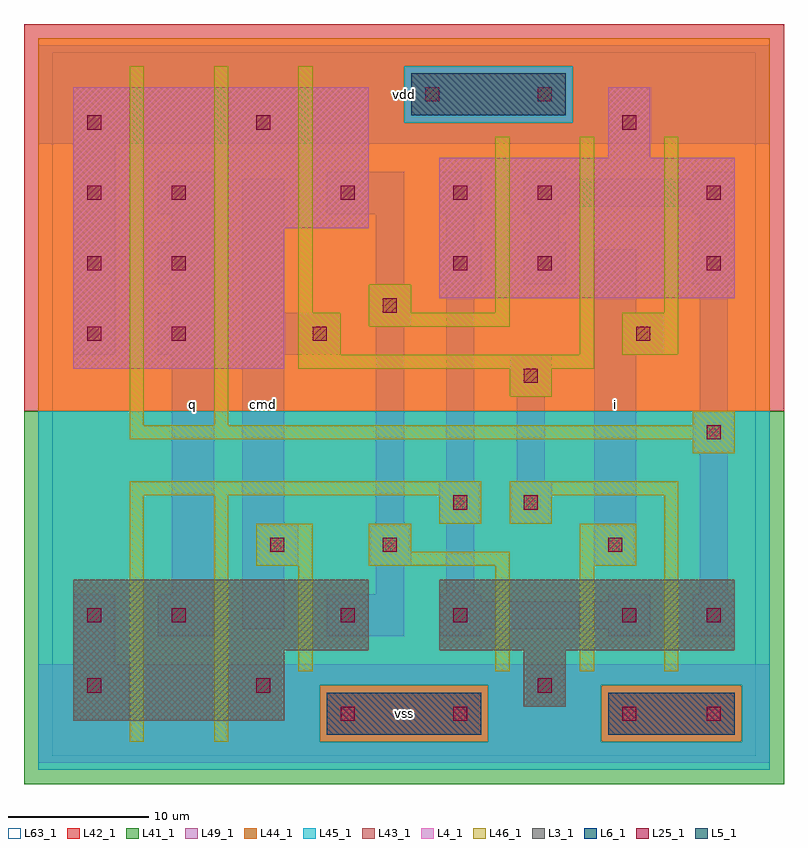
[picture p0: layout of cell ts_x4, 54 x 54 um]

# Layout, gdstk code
import gdstk
lib = gdstk.Library(unit=1e-6, precision=1e-09)
def R(c, l, rs):  # rectangles x0, y0, x1, y1
    for r in rs: c.add(gdstk.rectangle(r[:2], r[2:], *l))
def A(c, l, x, y, w, h, nx, ny, dx, dy):  # array of equal rectangles
    R(c, l, [(x+i*dx, y+j*dy, x+i*dx+w, y+j*dy+h) for i in range(nx) for j in range(ny)])
L3_1 = (3, 1)
L4_1 = (4, 1)
L5_1 = (5, 1)
L6_1 = (6, 1)
L25_1 = (25, 1)
L41_1 = (41, 1)
L42_1 = (42, 1)
L43_1 = (43, 1)
L44_1 = (44, 1)
L45_1 = (45, 1)
L46_1 = (46, 1)
L49_1 = (49, 1)
L63_1 = (63, 1)

ts_x4 = lib.new_cell('ts_x4')
R(ts_x4, L3_1, [(1.5,2.5,16.5,7.5), (33.5,3.5,36.5,7.5), (1.5,7.5,22.5,12.5), (27.5,7.5,48.5,12.5)])
R(ts_x4, L4_1, [(1.5,27.5,16.5,37.5), (27.5,32.5,48.5,42.5), (1.5,37.5,22.5,47.5), (39.5,42.5,42.5,47.5)])
R(ts_x4, L5_1, [(25.5,45.5,36.5,48.5)])
R(ts_x4, L6_1, [(19.5,1.5,30.5,4.5), (39.5,1.5,48.5,4.5)])
A(ts_x4, L25_1, 2.5, 29.5, 1, 1, 1, 4, 0, 5)
A(ts_x4, L25_1, 8.5, 29.5, 1, 1, 1, 3, 0, 5)
R(ts_x4, L25_1, [(20.5,2.5,21.5,3.5), (28.5,2.5,29.5,3.5), (40.5,2.5,41.5,3.5), (46.5,2.5,47.5,3.5), (2.5,4.5,3.5,5.5), (14.5,4.5,15.5,5.5), (34.5,4.5,35.5,5.5), (2.5,9.5,3.5,10.5), (8.5,9.5,9.5,10.5), (20.5,9.5,21.5,10.5), (28.5,9.5,29.5,10.5), (40.5,9.5,41.5,10.5), (46.5,9.5,47.5,10.5), (15.5,14.5,16.5,15.5), (23.5,14.5,24.5,15.5), (39.5,14.5,40.5,15.5), (28.5,17.5,29.5,18.5), (33.5,17.5,34.5,18.5), (46.5,22.5,47.5,23.5), (33.5,26.5,34.5,27.5), (18.5,29.5,19.5,30.5), (41.5,29.5,42.5,30.5), (23.5,31.5,24.5,32.5), (28.5,34.5,29.5,35.5), (34.5,34.5,35.5,35.5), (46.5,34.5,47.5,35.5), (20.5,39.5,21.5,40.5), (28.5,39.5,29.5,40.5), (34.5,39.5,35.5,40.5), (46.5,39.5,47.5,40.5), (14.5,44.5,15.5,45.5), (40.5,44.5,41.5,45.5), (26.5,46.5,27.5,47.5), (34.5,46.5,35.5,47.5)])
R(ts_x4, L41_1, [(-2,-2,52,24.5)])
R(ts_x4, L42_1, [(-2,24.5,52,52)])
R(ts_x4, L43_1, [(19.5,1.5,30.5,4.5), (39.5,1.5,48.5,4.5), (1.5,2.5,16.5,7.5), (33.5,3.5,36.5,7.5), (1.5,7.5,22.5,12.5), (27.5,7.5,48.5,12.5), (1.5,27.5,16.5,37.5), (27.5,32.5,48.5,42.5), (1.5,37.5,22.5,47.5), (39.5,42.5,42.5,47.5), (25.5,45.5,36.5,48.5)])
R(ts_x4, L44_1, [(19,1,31,5), (39,1,49,5), (-1,24.5,51,45), (-1,45,25,49), (37,45,51,49), (-1,49,51,51)])
R(ts_x4, L45_1, [(-1,-1,51,1), (-1,1,19,5), (31,1,39,5), (49,1,51,5), (-1,5,51,24.5), (25,45,37,49)])
R(ts_x4, L46_1, [(5.5,1,6.5,18.5), (11.5,1,12.5,18.5), (17.5,6,18.5,13.5), (31.5,6,32.5,13.5), (37.5,6,38.5,13.5), (43.5,6,44.5,18.5), (14.5,13.5,18.5,16.5), (22.5,13.5,32.5,14.5), (37.5,13.5,41.5,16.5), (22.5,14.5,25.5,16.5), (27.5,16.5,30.5,18.5), (32.5,16.5,35.5,18.5), (5.5,18.5,30.5,19.5), (32.5,18.5,44.5,19.5), (45.5,21.5,48.5,22.5), (5.5,22.5,48.5,23.5), (5.5,23.5,6.5,49), (11.5,23.5,12.5,49), (45.5,23.5,48.5,24.5), (32.5,25.5,35.5,27.5), (17.5,27.5,38.5,28.5), (17.5,28.5,20.5,31.5), (37.5,28.5,38.5,44), (40.5,28.5,44.5,31.5), (22.5,30.5,32.5,31.5), (17.5,31.5,18.5,49), (22.5,31.5,25.5,33.5), (31.5,31.5,32.5,44), (43.5,31.5,44.5,44)])
A(ts_x4, L49_1, 7.5, 28.5, 4, 3, 1, 3, 0, 5)
R(ts_x4, L49_1, [(-1,-0.5,51,6.5), (1.5,6.5,4.5,11.5), (7.5,8.5,11.5,11.5), (19.5,8.5,25,11.5), (27.5,8.5,30.5,9), (39.5,8.5,42.5,9), (45.5,8.5,48.5,11.5), (13.5,9,16.5,13.5), (27.5,9,42.5,11), (27.5,11,30.5,11.5), (39.5,11,42.5,11.5), (8.5,11.5,11.5,28.5), (23,11.5,25,13.5), (28,11.5,30,16.5), (46,11.5,48,21.5), (13.5,13.5,17.5,16.5), (22.5,13.5,25.5,16.5), (38.5,13.5,41.5,28.5), (13.5,16.5,16.5,28.5), (23,16.5,25,30.5), (27.5,16.5,30.5,19.5), (32.5,16.5,35.5,19.5), (28,19.5,30,33.5), (33,19.5,35,25.5), (45.5,21.5,48.5,24.5), (46,24.5,48,33.5), (32.5,25.5,35.5,28.5), (1.5,28.5,4.5,43.5), (13.5,28.5,20.5,31.5), (38.5,28.5,43.5,31.5), (22.5,30.5,25.5,33.5), (8.5,31.5,11.5,33.5), (13.5,31.5,16.5,41), (38.5,31.5,41.5,36), (23,33.5,25,38.5), (27.5,33.5,30.5,36.5), (33.5,33.5,36.5,36.5), (45.5,33.5,48.5,36.5), (8.5,36.5,11.5,38.5), (28,36.5,30,38.5), (34,36.5,36,38.5), (46,36.5,48,38.5), (19.5,38.5,25,41.5), (27.5,38.5,30.5,41.5), (33.5,38.5,36.5,39), (45.5,38.5,48.5,39), (33.5,39,48.5,41), (33.5,41,36.5,41.5), (45.5,41,48.5,41.5), (-1,43.5,51,50.5)])
R(ts_x4, L63_1, [(0,0,50,50)])
ts_x4.add(gdstk.Label('q', (10,25), layer=49, texttype=1))
ts_x4.add(gdstk.Label('q', (10,25), layer=49, texttype=1))
ts_x4.add(gdstk.Label('cmd', (15,25), layer=49, texttype=1))
ts_x4.add(gdstk.Label('cmd', (15,25), layer=49, texttype=1))
ts_x4.add(gdstk.Label('vss', (25,3), layer=49, texttype=1))
ts_x4.add(gdstk.Label('vss', (25,3), layer=49, texttype=1))
ts_x4.add(gdstk.Label('vdd', (25,47), layer=49, texttype=1))
ts_x4.add(gdstk.Label('vdd', (25,47), layer=49, texttype=1))
ts_x4.add(gdstk.Label('i', (40,25), layer=49, texttype=1))
ts_x4.add(gdstk.Label('i', (40,25), layer=49, texttype=1))

lib.write_gds('ts_x4.gds')
